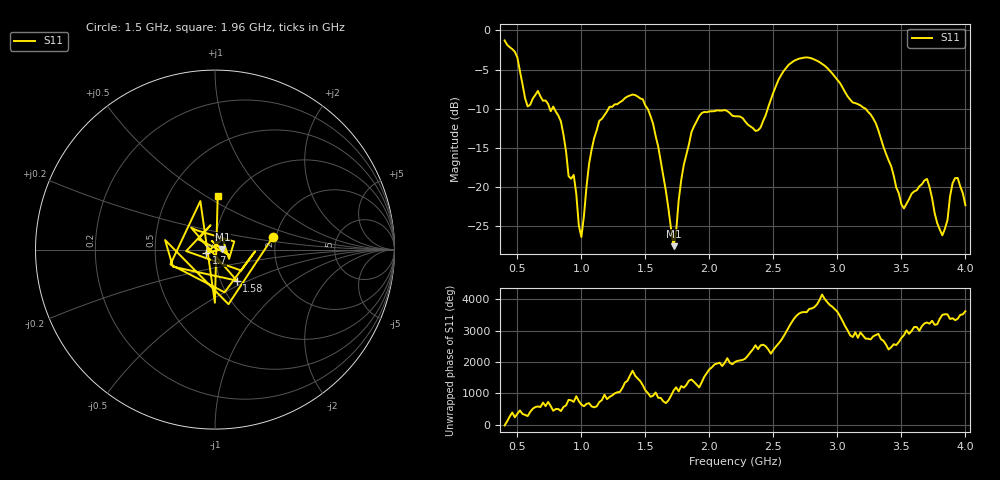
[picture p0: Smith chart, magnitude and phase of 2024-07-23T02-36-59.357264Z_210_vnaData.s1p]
!Created with skrf (http://scikit-rf.org).
# Hz S RI R 50.0
!freq ReS11 ImS11
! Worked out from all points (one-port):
!   181 points, 400 MHz to 4 GHz, reference 50 ohm
!   lowest |S11| = -27.6 dB at 1.72 GHz (marker M1), VSWR 1.09, Z = 54.3 + j0.242 ohm
!   |S11| at or under -10 dB: 787.9 MHz to 1.212 GHz (424.1 MHz wide, 42.4 % of centre); 1.517 GHz to 2.456 GHz (939.6 MHz wide, 47.3 % of centre); 3.219 GHz to end of sweep (the widest 3 of 4)
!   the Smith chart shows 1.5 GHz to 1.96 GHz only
!   S11 on the Smith chart (normalised r, x): 1.5 GHz: 1.92, +0.30; 1.58 GHz: 1.19, -0.43; 1.7 GHz: 0.90, -0.03; 1.96 GHz: 0.86, +0.57
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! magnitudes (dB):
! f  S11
! 400 MHz  -1.3
! 500 MHz  -3.5
! 580 MHz  -9.7
! 660 MHz  -7.7
! 860 MHz  -13.4
! 900 MHz  -18.7
! 940 MHz  -18.5
! 1 GHz  -26.4
! 1.1 GHz  -13.8
! 1.3 GHz  -9.2
! 1.5 GHz  -9.6
! 1.58 GHz  -13.5
! 1.7 GHz  -25.4
! 1.72 GHz  -27.6
! 1.76 GHz  -21.7
! 1.86 GHz  -13.0
! 1.96 GHz  -10.4
! 2.2 GHz  -11.0
! 2.38 GHz  -12.8
! 2.66 GHz  -3.9
! 3.1 GHz  -8.9
! 3.28 GHz  -11.3
! 3.5 GHz  -22.3
! 3.56 GHz  -21.6
! 3.7 GHz  -19.0
! 3.82 GHz  -26.2
! 3.92 GHz  -18.9
! 4 GHz  -22.4
